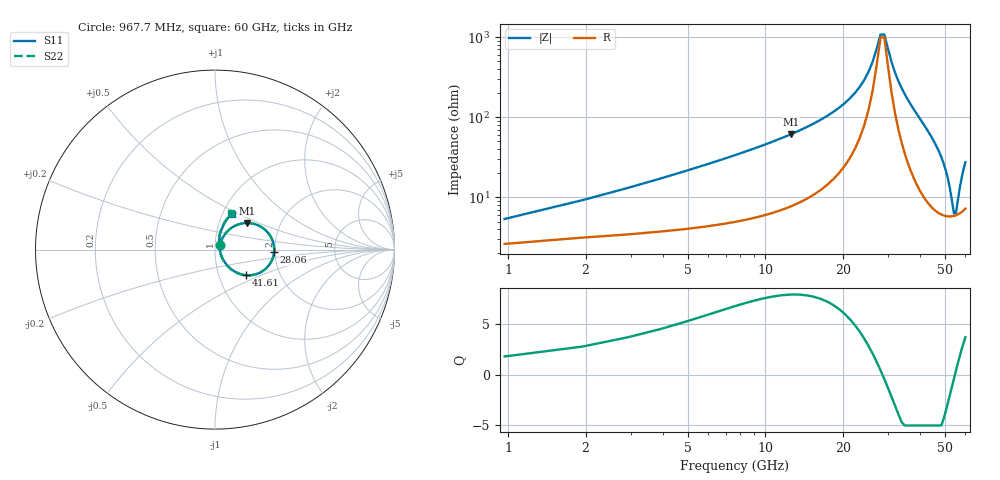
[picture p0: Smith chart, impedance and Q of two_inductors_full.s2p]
!port 1: calibrated at port wall xmin, reference plane at the wall
!port 2: calibrated at port wall xmax, reference plane at the wall
! Created with skrf 2.2.0 (http://scikit-rf.org).
# GHz S DB R 50.0
!freq dBS11 angS11 dBS21 angS21 dBS12 angS12 dBS22 angS22
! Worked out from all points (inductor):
!   62 points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, 967.7 MHz to 60 GHz, reference 50 ohm
!   read as 1/Y11, port 2 shorted: L = 671 pH near 2.903 GHz
!   highest Q = 7.87 at 12.58 GHz (marker M1), where L = 770 pH
!   self-resonance near 28.54 GHz
!   S11 on the Smith chart (normalised r, x): 967.7 MHz: 1.05, +0.05; 28.06 GHz: 1.98, -0.06; 41.61 GHz: 1.35, -0.40; 60 GHz: 1.11, +0.47
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0.9677419  -29.15 42.6  -0.24 -3.9  -0.24 -3.9  -29.22 41.8
2.903226  -23.17 55.9  -0.35 -10.4  -0.35 -10.4  -23.24 56.7
4.83871  -19.54 56.9  -0.42 -16.8  -0.42 -16.8  -19.50 57.3
7.741935  -16.07 52.2  -0.52 -26.2  -0.52 -26.2  -16.04 52.1
11.6129  -13.24 42.6  -0.67 -38.5  -0.67 -38.5  -13.24 42.5
12.58065  -12.73 40.0  -0.71 -41.5  -0.71 -41.5  -12.73 39.9
21.29032  -10.09 16.2  -0.98 -68.0  -0.98 -68.0  -10.09 16.2
28.06452  -9.65 -2.2  -1.06 -88.0  -1.06 -88.0  -9.65 -2.3
30.96774  -9.81 -10.2  -1.05 -96.7  -1.05 -96.7  -9.81 -10.3
35.80645  -10.65 -23.5  -0.98 -111.5  -0.98 -111.5  -10.65 -23.7
40.64516  -12.46 -36.8  -0.87 -126.8  -0.87 -126.8  -12.46 -37.1
41.6129  -12.99 -39.4  -0.84 -130.0  -0.84 -130.0  -12.99 -39.7
44.51613  -15.14 -46.8  -0.78 -139.6  -0.78 -139.6  -15.15 -47.2
47.41935  -18.67 -52.0  -0.73 -149.6  -0.73 -149.6  -18.69 -52.8
49.35484  -22.65 -50.9  -0.71 -156.4  -0.71 -156.4  -22.70 -52.3
50.32258  -25.65 -45.2  -0.71 -159.9  -0.71 -159.9  -25.78 -47.2
51.29032  -29.59 -27.2  -0.71 -163.4  -0.71 -163.4  -29.95 -29.6
52.25806  -31.81 17.9  -0.72 -166.9  -0.72 -166.9  -32.55 18.2
54.19355  -24.20 67.4  -0.76 -173.9  -0.76 -173.9  -24.36 69.1
55.16129  -21.19 71.6  -0.79 -177.5  -0.79 -177.5  -21.27 73.1
57.09677  -17.06 71.2  -0.87 175.4  -0.87 175.4  -17.10 72.2
60  -13.09 64.8  -1.04 164.7  -1.04 164.7  -13.10 65.5
